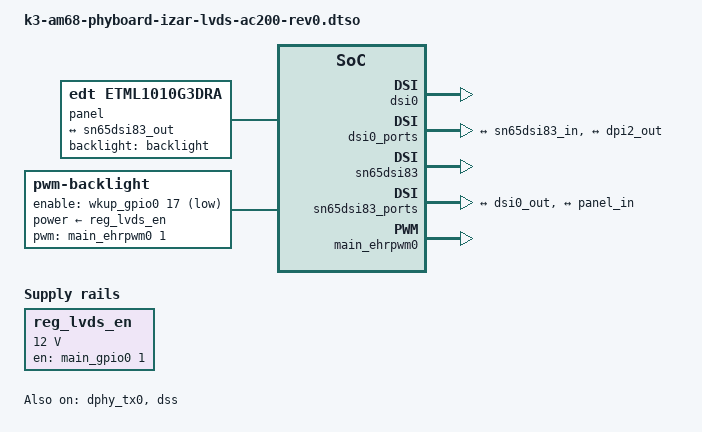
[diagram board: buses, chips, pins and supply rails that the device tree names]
// SPDX-License-Identifier: GPL-2.0
/*
 * Copyright (C) 2023 PHYTEC Messtechnik GmbH
 * Author: Dominik Haller <d.haller@phytec.de>
 */

/dts-v1/;
/plugin/;

#include <dt-bindings/gpio/gpio.h>
#include "k3-pinctrl.h"

&{/} {
	panel {
		compatible = "edt,etml1010g3dra";
		backlight = <&backlight>;

		port {
			panel_in: endpoint {
				remote-endpoint = <&sn65dsi83_out>;
			};
		};
	};

	backlight: backlight {
		compatible = "pwm-backlight";
		pinctrl-names = "default";
		pinctrl-0 = <&main_lvds_pins_default &wkup_lvds_pins_default>;
		pwms = <&main_ehrpwm0 1 6666666 0>;
		power-supply = <&reg_lvds_en>;
		enable-gpios = <&wkup_gpio0 17 GPIO_ACTIVE_LOW>;
		brightness-levels = <0 32 64 96 128 160 192 224 255>;
		default-brightness-level = <6>;
	};

	reg_lvds_en: regulator-lvds-en {
		compatible = "regulator-fixed";
		regulator-name = "lvds_en";
		regulator-min-microvolt = <12000000>;
		regulator-max-microvolt = <12000000>;
		gpio = <&main_gpio0 1 GPIO_ACTIVE_HIGH>;
		enable-active-high;
	};
};

&main_pmx0 {
	main_lvds_pins_default: main-panel-pins-default {
		pinctrl-single,pins = <
			J721S2_IOPAD(0x004, PIN_OUTPUT, 7) /* (W25) MCAN12_TX.GPIO0_1 */
			J721S2_IOPAD(0x064, PIN_OUTPUT, 9) /* (W28) MCAN0_TX.EHRPWM0_B */
		>;
	};
};

&wkup_pmx0 {
	wkup_lvds_pins_default: wkup-lvds_pins_default {
		pinctrl-single,pins = <
			J721S2_WKUP_IOPAD(0x004, PIN_OUTPUT, 7) /* (E20) MCU_OSPI0_LBCLKO.WKUP_GPIO0_17 */
		>;
	};
};

&dphy_tx0 {
	status = "okay";
};

&dss {
	assigned-clocks = <&k3_clks 158 14>;
	assigned-clock-parents = <&k3_clks 158 16>;
	assigned-clock-rates = <78950000>;
	status = "okay";
};

&dss_ports {
	#address-cells = <1>;
	#size-cells = <0>;

	port@2 {
		reg = <2>;
		dpi2_out: endpoint {
			remote-endpoint = <&dsi0_in>;
		};
	};
};

&dsi0 {
	status = "okay";
};

&dsi0_ports {
	#address-cells = <1>;
	#size-cells = <0>;

	port@0 {
		reg = <0>;
		dsi0_out: endpoint {
			remote-endpoint = <&sn65dsi83_in>;
		};
	};

	port@1 {
		reg = <1>;
		dsi0_in: endpoint {
			remote-endpoint = <&dpi2_out>;
		};
	};
};

&sn65dsi83 {
	status = "okay";
};

&sn65dsi83_ports {
	#address-cells = <1>;
	#size-cells = <0>;

	port@0 {
		reg = <0>;
		sn65dsi83_in: endpoint {
			remote-endpoint = <&dsi0_out>;
			data-lanes = <1 2 3 4>;
		};
	};

	port@2 {
		reg = <2>;
		sn65dsi83_out: endpoint {
			remote-endpoint = <&panel_in>;
		};
	};
};

&main_ehrpwm0 {
	status = "okay";
};
